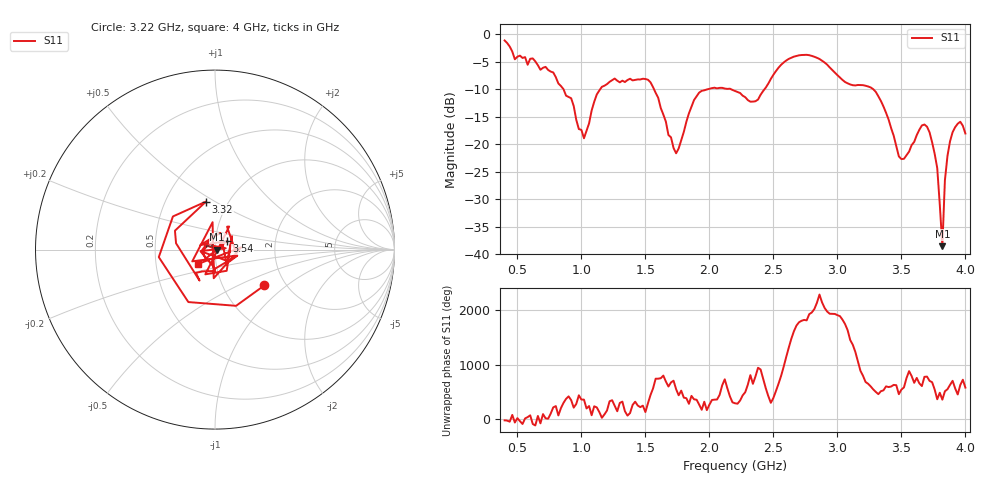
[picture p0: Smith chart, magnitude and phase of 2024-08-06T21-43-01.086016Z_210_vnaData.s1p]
!Created with skrf (http://scikit-rf.org).
# Hz S RI R 50.0
!freq ReS11 ImS11
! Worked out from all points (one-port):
!   181 points, 400 MHz to 4 GHz, reference 50 ohm
!   lowest |S11| = -38.6 dB at 3.82 GHz (marker M1), VSWR 1.02, Z = 51.2 - j0.0059 ohm
!   |S11| at or under -10 dB: 860 MHz to 1.147 GHz (287.3 MHz wide, 28.6 % of centre); 1.567 GHz to 1.989 GHz (422.3 MHz wide, 23.8 % of centre); 3.28 GHz to end of sweep (the widest 3 of 4)
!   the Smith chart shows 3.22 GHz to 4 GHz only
!   S11 on the Smith chart (normalised r, x): 3.22 GHz: 1.56, -0.71; 3.32 GHz: 0.79, +0.46; 3.54 GHz: 1.13, +0.11; 4 GHz: 0.82, -0.13
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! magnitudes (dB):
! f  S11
! 400 MHz  -1.1
! 480 MHz  -4.6
! 620 MHz  -4.4
! 860 MHz  -10.0
! 1.02 GHz  -18.9
! 1.12 GHz  -11.0
! 1.3 GHz  -8.8
! 1.54 GHz  -8.8
! 1.72 GHz  -20.7
! 1.76 GHz  -20.8
! 1.92 GHz  -10.6
! 2.2 GHz  -10.3
! 2.36 GHz  -12.2
! 2.66 GHz  -4.1
! 3.1 GHz  -9.1
! 3.22 GHz  -9.4
! 3.32 GHz  -11.3
! 3.48 GHz  -22.2
! 3.54 GHz  -22.0
! 3.56 GHz  -21.4
! 3.66 GHz  -16.6
! 3.72 GHz  -17.9
! 3.78 GHz  -24.4
! 3.82 GHz  -38.6
! 3.84 GHz  -26.6
! 3.88 GHz  -19.5
! 3.96 GHz  -15.9
! 4 GHz  -18.1
